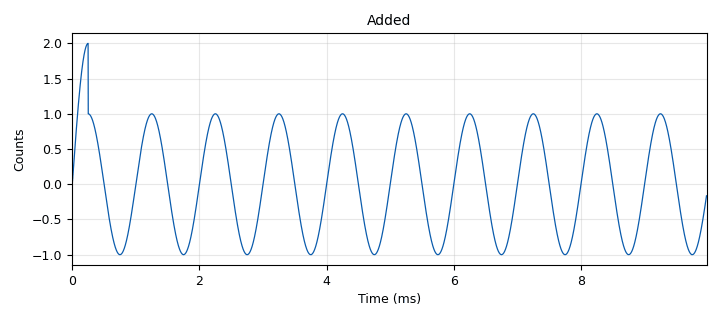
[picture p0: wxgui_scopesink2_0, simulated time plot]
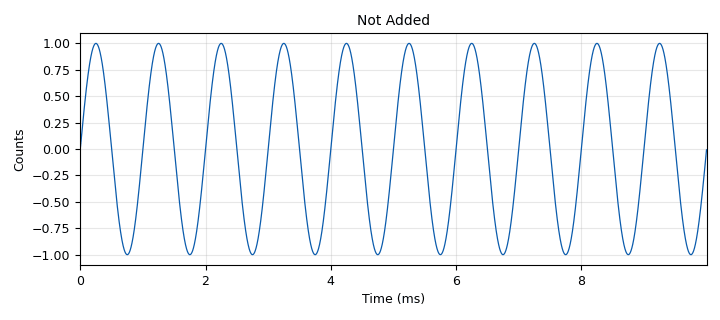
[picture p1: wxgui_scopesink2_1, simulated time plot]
<?xml version='1.0' encoding='utf-8'?>
<?grc format='1' created='3.7.11'?>
<flow_graph>
<block>
<key>options</key>
<param><key>id</key><value>top_block</value></param>
<param><key>generate_options</key><value>wx_gui</value></param>
</block>
<block>
<key>variable</key>
<param><key>id</key><value>samp_rate</value></param>
<param><key>value</key><value>800000</value></param>
</block>
<block>
<key>variable</key>
<param><key>id</key><value>variable_0</value></param>
<param><key>value</key><value>0</value></param>
</block>
<block>
<key>analog_random_source_x</key>
<param><key>id</key><value>analog_random_source_x_0</value></param>
<param><key>max</key><value>2</value></param>
<param><key>min</key><value>0</value></param>
<param><key>num_samps</key><value>1000</value></param>
<param><key>type</key><value>int</value></param>
<param><key>repeat</key><value>True</value></param>
</block>
<block>
<key>analog_sig_source_x</key>
<param><key>id</key><value>analog_sig_source_x_0</value></param>
<param><key>amp</key><value>1</value></param>
<param><key>freq</key><value>1000</value></param>
<param><key>offset</key><value>0</value></param>
<param><key>type</key><value>float</value></param>
<param><key>samp_rate</key><value>samp_rate</value></param>
<param><key>waveform</key><value>analog.GR_COS_WAVE</value></param>
</block>
<block>
<key>blocks_add_xx</key>
<param><key>id</key><value>blocks_add_xx_0</value></param>
<param><key>type</key><value>float</value></param>
</block>
<block>
<key>blocks_file_sink</key>
<param><key>id</key><value>blocks_file_sink_0</value></param>
<param><key>file</key><value>/Users/Andre/Desktop/added.txt</value></param>
<param><key>type</key><value>float</value></param>
</block>
<block>
<key>blocks_file_sink</key>
<param><key>id</key><value>blocks_file_sink_1</value></param>
<param><key>file</key><value>/Users/Andre/Desktop/notadd.txt</value></param>
<param><key>type</key><value>float</value></param>
</block>
<block>
<key>blocks_file_sink</key>
<param><key>id</key><value>blocks_file_sink_2</value></param>
<param><key>file</key><value>/Users/Andre/Desktop/bitfile</value></param>
<param><key>type</key><value>float</value></param>
</block>
<block>
<key>blocks_file_source</key>
<param><key>id</key><value>blocks_file_source_1</value></param>
<param><key>_enabled</key><value>0</value></param>
<param><key>type</key><value>complex</value></param>
<param><key>repeat</key><value>True</value></param>
</block>
<block>
<key>blocks_int_to_float</key>
<param><key>id</key><value>blocks_int_to_float_0</value></param>
<param><key>scale</key><value>1</value></param>
</block>
<block>
<key>blocks_multiply_xx</key>
<param><key>id</key><value>blocks_multiply_xx_0</value></param>
<param><key>type</key><value>float</value></param>
</block>
<block>
<key>blocks_repeat</key>
<param><key>id</key><value>blocks_repeat_0</value></param>
<param><key>interp</key><value>8000</value></param>
<param><key>type</key><value>float</value></param>
</block>
<block>
<key>wxgui_scopesink2</key>
<param><key>id</key><value>wxgui_scopesink2_0</value></param>
<param><key>ac_couple</key><value>False</value></param>
<param><key>num_inputs</key><value>1</value></param>
<param><key>samp_rate</key><value>samp_rate</value></param>
<param><key>t_scale</key><value>0</value></param>
<param><key>title</key><value>Added</value></param>
<param><key>trig_mode</key><value>wxgui.TRIG_MODE_AUTO</value></param>
<param><key>type</key><value>float</value></param>
<param><key>v_offset</key><value>0</value></param>
<param><key>v_scale</key><value>0</value></param>
<param><key>xy_mode</key><value>False</value></param>
<param><key>y_axis_label</key><value>Counts</value></param>
</block>
<block>
<key>wxgui_scopesink2</key>
<param><key>id</key><value>wxgui_scopesink2_1</value></param>
<param><key>ac_couple</key><value>False</value></param>
<param><key>num_inputs</key><value>1</value></param>
<param><key>samp_rate</key><value>samp_rate</value></param>
<param><key>t_scale</key><value>0</value></param>
<param><key>title</key><value>Not Added</value></param>
<param><key>trig_mode</key><value>wxgui.TRIG_MODE_AUTO</value></param>
<param><key>type</key><value>float</value></param>
<param><key>v_offset</key><value>0</value></param>
<param><key>v_scale</key><value>0</value></param>
<param><key>xy_mode</key><value>False</value></param>
<param><key>y_axis_label</key><value>Counts</value></param>
</block>
<connection><source_block_id>analog_random_source_x_0</source_block_id><sink_block_id>blocks_int_to_float_0</sink_block_id><source_key>0</source_key><sink_key>0</sink_key></connection>
<connection><source_block_id>analog_sig_source_x_0</source_block_id><sink_block_id>blocks_add_xx_0</sink_block_id><source_key>0</source_key><sink_key>0</sink_key></connection>
<connection><source_block_id>analog_sig_source_x_0</source_block_id><sink_block_id>blocks_file_sink_1</sink_block_id><source_key>0</source_key><sink_key>0</sink_key></connection>
<connection><source_block_id>analog_sig_source_x_0</source_block_id><sink_block_id>blocks_multiply_xx_0</sink_block_id><source_key>0</source_key><sink_key>0</sink_key></connection>
<connection><source_block_id>analog_sig_source_x_0</source_block_id><sink_block_id>wxgui_scopesink2_1</sink_block_id><source_key>0</source_key><sink_key>0</sink_key></connection>
<connection><source_block_id>blocks_add_xx_0</source_block_id><sink_block_id>blocks_file_sink_0</sink_block_id><source_key>0</source_key><sink_key>0</sink_key></connection>
<connection><source_block_id>blocks_add_xx_0</source_block_id><sink_block_id>wxgui_scopesink2_0</sink_block_id><source_key>0</source_key><sink_key>0</sink_key></connection>
<connection><source_block_id>blocks_int_to_float_0</source_block_id><sink_block_id>blocks_file_sink_2</sink_block_id><source_key>0</source_key><sink_key>0</sink_key></connection>
<connection><source_block_id>blocks_int_to_float_0</source_block_id><sink_block_id>blocks_repeat_0</sink_block_id><source_key>0</source_key><sink_key>0</sink_key></connection>
<connection><source_block_id>blocks_multiply_xx_0</source_block_id><sink_block_id>blocks_add_xx_0</sink_block_id><source_key>0</source_key><sink_key>1</sink_key></connection>
<connection><source_block_id>blocks_repeat_0</source_block_id><sink_block_id>blocks_multiply_xx_0</sink_block_id><source_key>0</source_key><sink_key>1</sink_key></connection>
</flow_graph>
